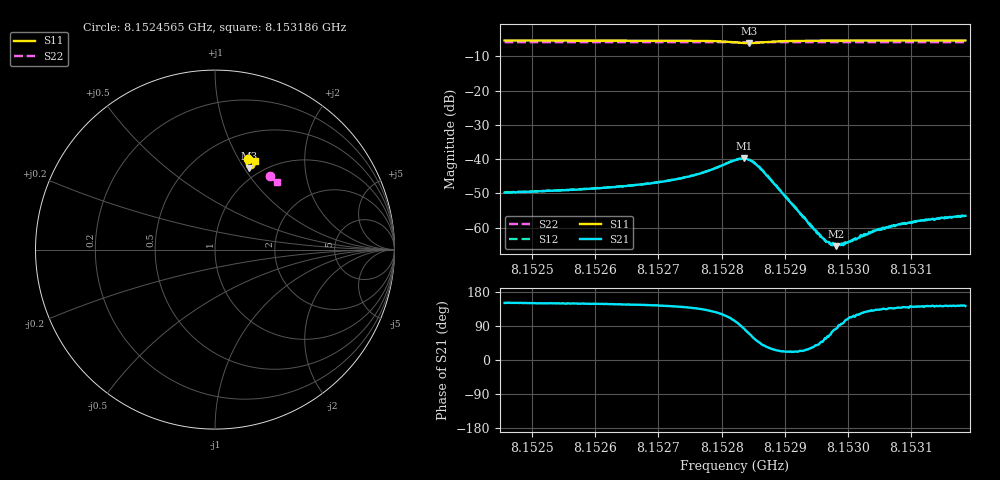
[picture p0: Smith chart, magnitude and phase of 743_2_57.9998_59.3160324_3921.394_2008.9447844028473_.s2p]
#  HZ  S  RI  R  50.00
! Rohde & Schwarz Vector Network Analyzer
! Rohde-Schwarz,ZNB20-2Port,1311601062101988,3.16
! Created: UTC 3/21/2024, 1:23:40 AM
! freq[Hz]  re:S11  im:S11  re:S21  im:S21  re:S12  im:S12  re:S22  im:S22
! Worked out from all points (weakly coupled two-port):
!   401 points, 8.1524565 GHz to 8.153186 GHz, reference 50 ohm
!   highest |S21| = -39.80 dB at 8.1528358 GHz (marker M1); lowest = -65.4 dB at 8.1529817 GHz (marker M2)
!   lowest |S11| = -6.1 dB at 8.1528431 GHz (marker M3), VSWR 2.94, Z = 43.8 + j52.6 ohm
!   |S11| at or under -10 dB: nowhere
!   |S22| runs from -5.9 to -5.8 dB; largest |S21 - S12| = 0.00021
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8.15245652e9  0.186 0.5073  -0.00282 0.00159  -0.00281 0.00167  0.3083 0.4077
8.1525787e9  0.1958 0.5035  -0.00311 0.00187  -0.00307 0.00195  0.3144 0.403
8.1526553e9  0.2027 0.5002  -0.00336 0.00228  -0.00341 0.00236  0.3182 0.3998
8.15270089e9  0.2077 0.4972  -0.00369 0.00273  -0.00371 0.0028  0.3204 0.3978
8.15273554e9  0.2122 0.4936  -0.00402 0.00337  -0.00399 0.00342  0.3223 0.3961
8.15276289e9  0.2162 0.4889  -0.00431 0.00423  -0.00428 0.00433  0.3235 0.3948
8.15282125e9  0.2144 0.4599  -0.00213 0.0094  -0.00206 0.00949  0.3257 0.3915
8.15283584e9  0.1986 0.4533  0.00134 0.0101  0.0014 0.0101  0.3259 0.391
8.15284313e9  0.189 0.4553  0.00327 0.00915  0.00333 0.00919  0.3258 0.3909
8.15285225e9  0.1801 0.4632  0.00485 0.00714  0.00482 0.00734  0.3261 0.3909
8.15286319e9  0.1766 0.4749  0.00524 0.00463  0.0053 0.00477  0.3267 0.3909
8.15294343e9  0.1989 0.4978  0.000867 0.000571  0.000867 0.000534  0.3314 0.3882
8.15296349e9  0.2026 0.4979  0.00035 0.000546  0.000396 0.000527  0.3324 0.3874
8.15297079e9  0.2036 0.4977  0.00025 0.000553  0.000257 0.00052  0.3328 0.3871
8.15298173e9  0.2052 0.4976  6.22e-05 0.000532  6.44e-05 0.000563  0.3334 0.3865
8.15298538e9  0.2058 0.4975  -1.63e-05 0.000552  -1.29e-07 0.000553  0.3336 0.3864
8.15299632e9  0.2073 0.4972  -0.000153 0.000567  -0.000113 0.000585  0.3343 0.386
8.15302367e9  0.2106 0.4966  -0.000421 0.00062  -0.000421 0.000632  0.3354 0.3847
8.15304009e9  0.2121 0.4961  -0.000567 0.00066  -0.000586 0.000685  0.3362 0.384
8.15306562e9  0.2147 0.4956  -0.000767 0.000713  -0.000747 0.000706  0.3375 0.3829
8.15311486e9  0.219 0.494  -0.000979 0.000794  -0.000971 0.000824  0.3397 0.3808
8.15318598e9  0.2248 0.492  -0.00118 0.000903  -0.0012 0.000907  0.3431 0.3776
